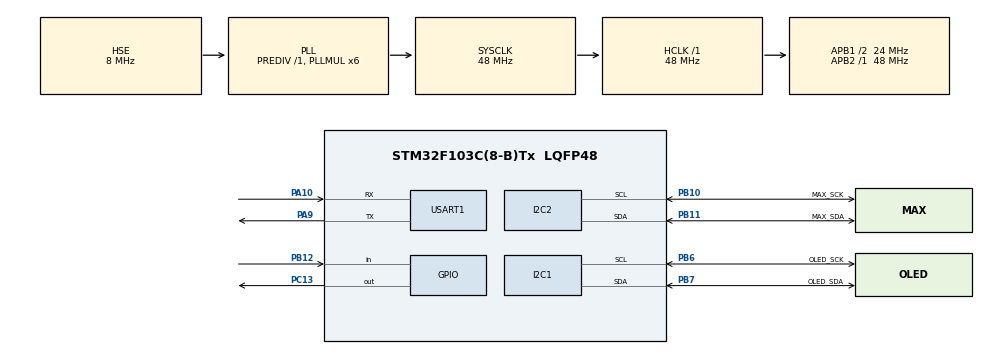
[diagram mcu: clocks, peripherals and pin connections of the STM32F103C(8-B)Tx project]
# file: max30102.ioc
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I2C1.I2C_Mode=I2C_Standard
I2C2.I2C_Mode=I2C_Standard
Mcu.Family=STM32F1
Mcu.Name=STM32F103C(8-B)Tx
Mcu.Package=LQFP48
NVIC.I2C1_EV_IRQn=true\:1\:0\:true\:true\:true\:1\:true\:true\:true
NVIC.I2C2_EV_IRQn=true\:0\:0\:false\:false\:true\:true\:true\:true
NVIC.PriorityGroup=NVIC_PRIORITYGROUP_4
NVIC.USART1_IRQn=true\:0\:0\:false\:false\:true\:true\:true\:true
PA0-WKUP.Mode=SYS_WakeUp0
PA0-WKUP.Signal=SYS_WKUP
PA10.Mode=Asynchronous
PA10.Signal=USART1_RX
PA13.Mode=Serial_Wire
PA13.Signal=SYS_JTMS-SWDIO
PA14.Mode=Serial_Wire
PA14.Signal=SYS_JTCK-SWCLK
PA9.Mode=Asynchronous
PA9.Signal=USART1_TX
PB10.GPIO_Label=MAX_SCK
PB10.GPIO_Pu=GPIO_PULLUP
PB10.Mode=I2C
PB10.Signal=I2C2_SCL
PB11.GPIO_Label=MAX_SDA
PB11.GPIO_Pu=GPIO_PULLUP
PB11.Mode=I2C
PB11.Signal=I2C2_SDA
PB12.GPIO_PuPd=GPIO_PULLUP
PB12.Signal=GPIO_Input
PB6.GPIO_Label=OLED_SCK
PB6.GPIO_Pu=GPIO_PULLUP
PB6.Mode=I2C
PB6.Signal=I2C1_SCL
PB7.GPIO_Label=OLED_SDA
PB7.GPIO_Pu=GPIO_PULLUP
PB7.Mode=I2C
PB7.Signal=I2C1_SDA
PC13-TAMPER-RTC.GPIO_ModeDefaultOutputPP=GPIO_MODE_OUTPUT_PP
PC13-TAMPER-RTC.GPIO_Speed=GPIO_SPEED_FREQ_HIGH
PC13-TAMPER-RTC.PinState=GPIO_PIN_SET
PC13-TAMPER-RTC.Signal=GPIO_Output
PC14-OSC32_IN.Mode=LSE-External-Oscillator
PC14-OSC32_IN.Signal=RCC_OSC32_IN
PC15-OSC32_OUT.Mode=LSE-External-Oscillator
PC15-OSC32_OUT.Signal=RCC_OSC32_OUT
PD0-OSC_IN.Mode=HSE-External-Oscillator
PD0-OSC_IN.Signal=RCC_OSC_IN
PD1-OSC_OUT.Mode=HSE-External-Oscillator
PD1-OSC_OUT.Signal=RCC_OSC_OUT
ProjectManager.HeapSize=0x200
ProjectManager.StackSize=0x400
ProjectManager.TargetToolchain=MDK-ARM V5.32
RCC.AHBFreq_Value=48000000
RCC.APB1CLKDivider=RCC_HCLK_DIV2
RCC.APB1Freq_Value=24000000
RCC.APB1TimFreq_Value=48000000
RCC.APB2Freq_Value=48000000
RCC.APB2TimFreq_Value=48000000
RCC.HCLKFreq_Value=48000000
RCC.PLLMUL=RCC_PLL_MUL6
RCC.PLLSourceVirtual=RCC_PLLSOURCE_HSE
RCC.SYSCLKFreq_VALUE=48000000
RCC.SYSCLKSource=RCC_SYSCLKSOURCE_PLLCLK
RCC.USBFreq_Value=48000000
USART1.VirtualMode=VM_ASYNC
board=max30102

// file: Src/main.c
/* USER CODE BEGIN Header */
/**
  ******************************************************************************
  * @file           : main.c
  * @brief          : Main program body
  ******************************************************************************
  * @attention
  *
  * Copyright (c) 2022 STMicroelectronics.
  * All rights reserved.
  *
  * This software is licensed under terms that can be found in the LICENSE file
  * in the root directory of this software component.
  * If no LICENSE file comes with this software, it is provided AS-IS.
  *
  ******************************************************************************
  */
/* USER CODE END Header */
#include "main.h"

/* USER CODE BEGIN Includes */
#include "oled.h"
#include "max30102.h"
/* USER CODE END Includes */

/* USER CODE BEGIN PTD */
static const uint8_t MAX30205_ADDRESS = 0x48 << 1;
static const uint8_t REG_TEMP = 0x00;
/* USER CODE END PTD */

I2C_HandleTypeDef hi2c1;
I2C_HandleTypeDef hi2c2;
UART_HandleTypeDef huart1;

/* USER CODE BEGIN PV */
uint8_t tempData[2];
float temperature;
/* USER CODE END PV */

void SystemClock_Config(void);
static void MX_GPIO_Init(void);
static void MX_I2C1_Init(void);
static void MX_I2C2_Init(void);
static void MX_USART1_UART_Init(void);
static void MX_NVIC_Init(void);

/* USER CODE BEGIN 0 */
void shutdown()
{
    OLED_Display_Off();
    max30102_OFF();
    HAL_Delay(100);
    /* Disable all used wakeup sources: PWR_WAKEUP_PIN1 */
    HAL_PWR_DisableWakeUpPin(PWR_WAKEUP_PIN1);
    /* Clear all related wakeup flags*/
    __HAL_PWR_CLEAR_FLAG(PWR_FLAG_WU);
    /* Enable WakeUp Pin PWR_WAKEUP_PIN1 connected to PA.00 */
    HAL_PWR_EnableWakeUpPin(PWR_WAKEUP_PIN1);
    /* Enter the Standby mode */
    HAL_PWR_EnterSTANDBYMode();
}
/* USER CODE END 0 */

int main(void)
{

  /* MCU Configuration--------------------------------------------------------*/

  /* Reset of all peripherals, Initializes the Flash interface and the Systick. */
  HAL_Init();

  /* Configure the system clock */
  SystemClock_Config();

  /* USER CODE BEGIN SysInit */

	/* Enable Power Control clock */

  /* USER CODE END SysInit */

  /* Initialize all configured peripherals */
  MX_GPIO_Init();
  MX_I2C1_Init();
  MX_I2C2_Init();
  MX_USART1_UART_Init();

  /* Initialize interrupts */
  MX_NVIC_Init();
  /* USER CODE BEGIN 2 */
	HAL_Delay(200);
  OLED_Init();
  max30102_init();
  /* USER CODE END 2 */

  /* Infinite loop */
  while (1)
  {

    /* USER CODE BEGIN 3 */
		HAL_StatusTypeDef ret;

		if (HAL_GPIO_ReadPin(GPIOB, GPIO_PIN_12) == GPIO_PIN_RESET)
    {

				ret = HAL_I2C_Mem_Read(&hi2c2, (uint16_t)(MAX30205_ADDRESS) |0x01, REG_TEMP, I2C_MEMADD_SIZE_8BIT, tempData, 2, 100);

				temperature = ( (tempData[0] << 8) | tempData[1]) *0.00390625;

				max30102_cal();
				uint8_t spo2 = max30102_getSpO2();
				uint8_t heartRate = max30102_getHeartRate();

				// gui du lieu
				uint8_t result[3];
				result[0] = heartRate;
				result[1] = spo2;
				result[2] = (uint8_t)temperature;
				char rxData[2];
				HAL_UART_Receive(&huart1, (uint8_t*)&rxData[0], 1, 10);
				rxData[1] = '\0'; // K?t thúc chu?i

				if (strcmp(rxData, "1") == 0) { // So sánh chu?i nh?n ðý?c v?i chu?i "1"
						char data[20];
						sprintf(data, "%u#%u#%u", result[0], result[1], result[2]);
						HAL_UART_Transmit(&huart1, (uint8_t *)data, sizeof(data), 1000);
//						uint8_t datas[] = "\n"; // Chu?i c?n g?i
//						uint16_t size = sizeof(datas); // Kích thý?c chu?i
//						HAL_UART_Transmit(&huart1, datas, size, 1000);
//						//sprintf(data, "%d", result[0]);
//						HAL_UART_Transmit(&huart1,&result[1], sizeof(result[1]), 1000);
//						HAL_UART_Transmit(&huart1, datas, size, 1000);
//						//sprintf(data, "%d", result[0]);
//						HAL_UART_Transmit(&huart1,&result[2], sizeof(result[2]), 1000);
//						HAL_UART_Transmit(&huart1, datas, size, 1000);
//					for (int i = 0; i < 3; i++) {
//						char data[10];
//						sprintf(data, "%d", 90); // Chuy?n s? nguyên sang chu?i
//						HAL_UART_Transmit(&huart1, (uint8_t*)"90", strlen(2), 1000);
//						uint8_t datas[] = "\n"; // Chu?i c?n g?i
//						uint16_t size = sizeof(data); // Kích thý?c chu?i
//						HAL_UART_Transmit(&huart1, datas, size, 1000);
//					}
				}

				// hien thi nhip tim
				if (heartRate % 1000 / 100 > 0)
            OLED_showNum(0, heartRate % 1000 / 100);
				else
						OLED_showNum(0, 10);

				OLED_showNum(1, heartRate % 100 / 10);
        OLED_showNum(2, heartRate % 10);
				// hien thi sp02
//				if (spo2 % 1000 / 100 > 0)
//						OLED_showNum(3, spo2 % 1000 / 100);
//				else
//						OLED_showNum(3, 10);
				OLED_showNum(4, spo2 % 100 / 10);
				OLED_showNum(5, spo2 % 10);

				// hien thi nhiet do
				OLED_showNum(6, (uint8_t)temperature % 100 / 10);
				OLED_showNum(7, (uint8_t)temperature % 10);

				// ve bieu do
				int16_t diff = max30102_getDiff();
				OLED_drawChart(diff);
//				if (diff > 50)
//						OLED_showHeart(0);
//				else
//						OLED_showHeart(1);

				// che do tiet kiem nang luong
				if (HAL_GPIO_ReadPin(GPIOA, GPIO_PIN_0) == GPIO_PIN_SET)
				{
						while (HAL_GPIO_ReadPin(GPIOA, GPIO_PIN_0) == GPIO_PIN_SET)
								;
						shutdown();
				}
			}
  }
  /* USER CODE END 3 */
}

void SystemClock_Config(void)
{
  RCC_OscInitTypeDef RCC_OscInitStruct = {0};
  RCC_ClkInitTypeDef RCC_ClkInitStruct = {0};

  /** Initializes the RCC Oscillators according to the specified parameters
  * in the RCC_OscInitTypeDef structure.
  */
  RCC_OscInitStruct.OscillatorType = RCC_OSCILLATORTYPE_HSE;
  RCC_OscInitStruct.HSEState = RCC_HSE_ON;
  RCC_OscInitStruct.HSEPredivValue = RCC_HSE_PREDIV_DIV1;
  RCC_OscInitStruct.HSIState = RCC_HSI_ON;
  RCC_OscInitStruct.PLL.PLLState = RCC_PLL_ON;
  RCC_OscInitStruct.PLL.PLLSource = RCC_PLLSOURCE_HSE;
  RCC_OscInitStruct.PLL.PLLMUL = RCC_PLL_MUL6;
  if (HAL_RCC_OscConfig(&RCC_OscInitStruct) != HAL_OK)
  {
    Error_Handler();
  }

  /** Initializes the CPU, AHB and APB buses clocks
  */
  RCC_ClkInitStruct.ClockType = RCC_CLOCKTYPE_HCLK|RCC_CLOCKTYPE_SYSCLK
                              |RCC_CLOCKTYPE_PCLK1|RCC_CLOCKTYPE_PCLK2;
  RCC_ClkInitStruct.SYSCLKSource = RCC_SYSCLKSOURCE_PLLCLK;
  RCC_ClkInitStruct.AHBCLKDivider = RCC_SYSCLK_DIV1;
  RCC_ClkInitStruct.APB1CLKDivider = RCC_HCLK_DIV2;
  RCC_ClkInitStruct.APB2CLKDivider = RCC_HCLK_DIV1;

  if (HAL_RCC_ClockConfig(&RCC_ClkInitStruct, FLASH_LATENCY_1) != HAL_OK)
  {
    Error_Handler();
  }
}

/**
  * @brief NVIC Configuration.
  * @retval None
  */
static void MX_NVIC_Init(void)
{
  /* I2C1_EV_IRQn interrupt configuration */
  HAL_NVIC_SetPriority(I2C1_EV_IRQn, 1, 0);
  HAL_NVIC_EnableIRQ(I2C1_EV_IRQn);
}

static void MX_I2C1_Init(void)
{

  hi2c1.Instance = I2C1;
  hi2c1.Init.ClockSpeed = 100000;
  hi2c1.Init.DutyCycle = I2C_DUTYCYCLE_2;
  hi2c1.Init.OwnAddress1 = 0;
  hi2c1.Init.AddressingMode = I2C_ADDRESSINGMODE_7BIT;
  hi2c1.Init.DualAddressMode = I2C_DUALADDRESS_DISABLE;
  hi2c1.Init.OwnAddress2 = 0;
  hi2c1.Init.GeneralCallMode = I2C_GENERALCALL_DISABLE;
  hi2c1.Init.NoStretchMode = I2C_NOSTRETCH_DISABLE;
  if (HAL_I2C_Init(&hi2c1) != HAL_OK)
  {
    Error_Handler();
  }

}

static void MX_I2C2_Init(void)
{

  hi2c2.Instance = I2C2;
  hi2c2.Init.ClockSpeed = 100000;
  hi2c2.Init.DutyCycle = I2C_DUTYCYCLE_2;
  hi2c2.Init.OwnAddress1 = 0;
  hi2c2.Init.AddressingMode = I2C_ADDRESSINGMODE_7BIT;
  hi2c2.Init.DualAddressMode = I2C_DUALADDRESS_DISABLE;
  hi2c2.Init.OwnAddress2 = 0;
  hi2c2.Init.GeneralCallMode = I2C_GENERALCALL_DISABLE;
  hi2c2.Init.NoStretchMode = I2C_NOSTRETCH_DISABLE;
  if (HAL_I2C_Init(&hi2c2) != HAL_OK)
  {
    Error_Handler();
  }

}

static void MX_USART1_UART_Init(void)
{

  huart1.Instance = USART1;
  huart1.Init.BaudRate = 115200;
  huart1.Init.WordLength = UART_WORDLENGTH_8B;
  huart1.Init.StopBits = UART_STOPBITS_1;
  huart1.Init.Parity = UART_PARITY_NONE;
  huart1.Init.Mode = UART_MODE_TX_RX;
  huart1.Init.HwFlowCtl = UART_HWCONTROL_NONE;
  huart1.Init.OverSampling = UART_OVERSAMPLING_16;
  if (HAL_UART_Init(&huart1) != HAL_OK)
  {
    Error_Handler();
  }

}

static void MX_GPIO_Init(void)
{
  GPIO_InitTypeDef GPIO_InitStruct = {0};

  /* GPIO Ports Clock Enable */
  __HAL_RCC_GPIOC_CLK_ENABLE();
  __HAL_RCC_GPIOD_CLK_ENABLE();
  __HAL_RCC_GPIOA_CLK_ENABLE();
  __HAL_RCC_GPIOB_CLK_ENABLE();

  /*Configure GPIO pin Output Level */
  HAL_GPIO_WritePin(GPIOC, GPIO_PIN_13, GPIO_PIN_SET);

  /*Configure GPIO pin : PC13 */
  GPIO_InitStruct.Pin = GPIO_PIN_13;
  GPIO_InitStruct.Mode = GPIO_MODE_OUTPUT_PP;
  GPIO_InitStruct.Pull = GPIO_NOPULL;
  GPIO_InitStruct.Speed = GPIO_SPEED_FREQ_HIGH;
  HAL_GPIO_Init(GPIOC, &GPIO_InitStruct);

  /*Configure GPIO pin : PB12 */
  GPIO_InitStruct.Pin = GPIO_PIN_12;
  GPIO_InitStruct.Mode = GPIO_MODE_INPUT;
  GPIO_InitStruct.Pull = GPIO_PULLUP;
  HAL_GPIO_Init(GPIOB, &GPIO_InitStruct);

}

void Error_Handler(void)
{
  __disable_irq();
  while (1)
  {
  }
}
